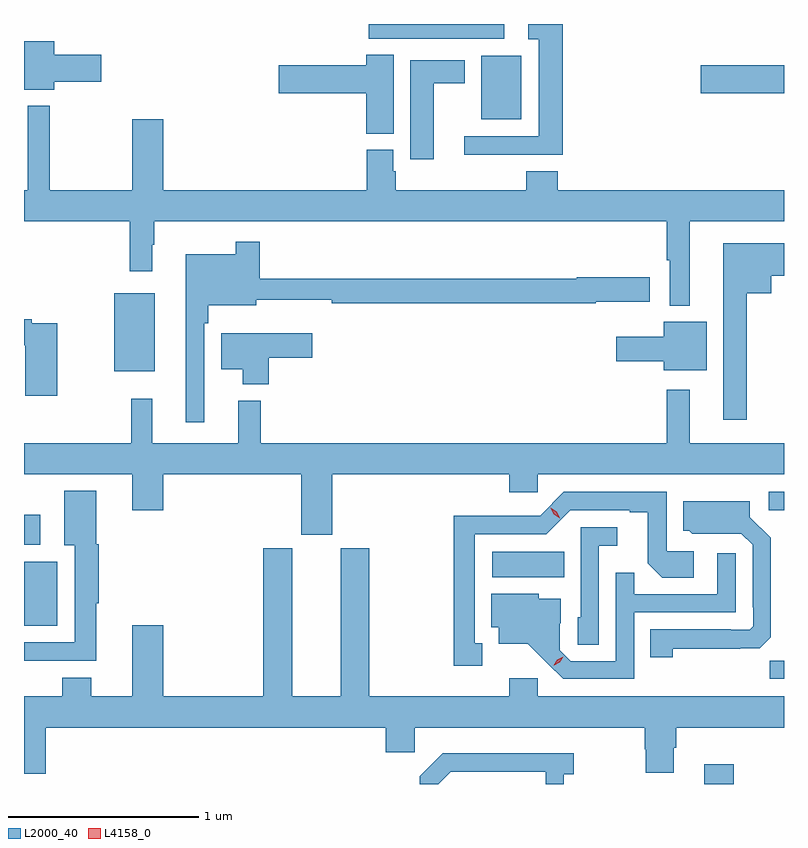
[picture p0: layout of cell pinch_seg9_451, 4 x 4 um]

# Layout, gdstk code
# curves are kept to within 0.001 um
import gdstk
lib = gdstk.Library(unit=1e-6, precision=1e-09)
def R(c, l, rs):  # rectangles x0, y0, x1, y1
    for r in rs: c.add(gdstk.rectangle(r[:2], r[2:], *l))
def P(c, l, *ps):  # polygons
    for p in ps: c.add(gdstk.Polygon(p, *l))
L2000_40 = (2000, 40)
L4158_0 = (4158, 0)

pinch_seg9_451 = lib.new_cell('pinch_seg9_451')
R(pinch_seg9_451, L2000_40, [(263.921,1190.795,264.077,1190.899), (264.268,1191.348,264.342,1191.443), (260.342,1191.629,260.518,1191.964), (262.806,1191.884,263.186,1192.018), (260.342,1192.053,260.428,1192.213), (264.261,1192.236,264.342,1192.332), (260.816,1192.967,261.031,1193.377), (262.748,1194.293,262.96,1194.628), (263.904,1194.431,264.342,1194.578), (262.157,1194.717,262.87,1194.795)])
P(pinch_seg9_451, L2000_40, [(263.177,1194.795),(262.997,1194.795),(262.997,1194.716),(263.051,1194.716),(263.051,1194.204),(262.659,1194.204),(262.659,1194.107),(263.177,1194.107)],
  [(260.5,1194.491),(260.749,1194.491),(260.749,1194.633),(260.5,1194.633),(260.5,1194.703),(260.342,1194.703),(260.342,1194.449),(260.5,1194.449)],
  [(262.288,1194.632),(262.142,1194.632),(262.142,1194.578),(261.684,1194.578),(261.684,1194.431),(262.142,1194.431),(262.142,1194.217),(262.288,1194.217)],
  [(262.498,1194.482),(262.663,1194.482),(262.663,1194.604),(262.376,1194.604),(262.376,1194.084),(262.498,1194.084)],
  [(263.845,1193.756),(264.342,1193.756),(264.342,1193.92),(263.15,1193.92),(263.15,1194.019),(262.985,1194.019),(262.985,1193.92),(262.298,1193.92),(262.298,1194.021),(262.285,1194.021),(262.285,1194.132),(262.145,1194.132),(262.145,1193.92),(261.076,1193.92),(261.076,1194.295),(260.912,1194.295),(260.912,1193.92),(260.477,1193.92),(260.477,1194.364),(260.363,1194.364),(260.363,1193.92),(260.342,1193.92),(260.342,1193.756),(260.899,1193.756),(260.899,1193.493),(261.016,1193.493),(261.016,1193.633),(261.028,1193.633),(261.028,1193.756),(263.724,1193.756),(263.724,1193.551),(263.741,1193.551),(263.741,1193.312),(263.845,1193.312)],
  [(261.291,1193.219),(261.311,1193.219),(261.311,1193.315),(261.565,1193.315),(261.565,1193.345),(261.961,1193.345),(261.961,1193.326),(263.35,1193.326),(263.35,1193.333),(263.635,1193.333),(263.635,1193.463),(263.25,1193.463),(263.25,1193.455),(261.584,1193.455),(261.584,1193.65),(261.456,1193.65),(261.456,1193.584),(261.194,1193.584),(261.194,1192.698),(261.291,1192.698)],
  [(264.145,1193.378),(264.274,1193.378),(264.274,1193.471),(264.342,1193.471),(264.342,1193.641),(264.023,1193.641),(264.023,1192.713),(264.145,1192.713)],
  [(260.518,1193.22),(260.384,1193.22),(260.384,1193.24),(260.342,1193.24),(260.342,1193.104),(260.348,1193.104),(260.348,1192.839),(260.518,1192.839)],
  [(263.935,1193.227),(263.708,1193.227),(263.708,1193.149),(263.46,1193.149),(263.46,1193.02),(263.708,1193.02),(263.708,1192.973),(263.935,1192.973)],
  [(261.629,1193.038),(261.859,1193.038),(261.859,1193.167),(261.38,1193.167),(261.38,1192.979),(261.494,1192.979),(261.494,1192.898),(261.629,1192.898)],
  [(261.964,1192.424),(262.895,1192.424),(262.895,1192.331),(263.046,1192.331),(263.046,1192.424),(264.342,1192.424),(264.342,1192.588),(263.845,1192.588),(263.845,1192.87),(263.724,1192.87),(263.724,1192.588),(261.587,1192.588),(261.587,1192.813),(261.47,1192.813),(261.47,1192.588),(261.017,1192.588),(261.017,1192.822),(260.907,1192.822),(260.907,1192.588),(260.342,1192.588),(260.342,1192.424),(260.912,1192.424),(260.912,1192.236),(261.076,1192.236),(261.076,1192.424),(261.8,1192.424),(261.8,1192.107),(261.964,1192.107)],
  [(260.722,1191.747),(260.735,1191.747),(260.735,1192.056),(260.722,1192.056),(260.722,1192.339),(260.555,1192.339),(260.555,1192.052),(260.609,1192.052),(260.609,1191.54),(260.342,1191.54),(260.342,1191.443),(260.722,1191.443)],
  [(262.753,1191.537),(262.714,1191.537),(262.714,1192.11),(263.091,1192.11),(263.217,1192.236),(263.531,1192.236),(263.531,1192.224),(263.625,1192.224),(263.625,1191.956),(263.701,1191.88),(263.866,1191.88),(263.866,1192.02),(263.724,1192.02),(263.724,1192.332),(263.184,1192.332),(263.058,1192.206),(262.836,1192.206),(262.836,1192.208),(262.603,1192.208),(262.603,1191.417),(262.753,1191.417)],
  [(263.757,1191.508),(264.214,1191.509),(264.273,1191.568),(264.273,1192.09),(264.163,1192.2),(264.163,1192.282),(263.813,1192.282),(263.813,1192.128),(263.844,1192.128),(263.86,1192.112),(264.117,1192.113),(264.177,1192.053),(264.177,1191.724),(264.18,1191.724),(264.18,1191.624),(264.162,1191.606),(264.062,1191.606),(264.062,1191.609),(263.638,1191.609),(263.638,1191.462),(263.757,1191.462)],
  [(263.367,1192.049),(263.464,1192.049),(263.464,1192.146),(263.271,1192.146),(263.271,1191.672),(263.256,1191.672),(263.256,1191.529),(263.367,1191.529)],
  [(260.456,1191.092),(262.247,1191.092),(262.247,1190.961),(262.398,1190.961),(262.398,1191.092),(263.609,1191.092),(263.609,1190.979),(263.614,1190.979),(263.614,1190.854),(263.761,1190.854),(263.761,1190.986),(263.774,1190.986),(263.774,1191.092),(264.342,1191.092),(264.342,1191.256),(263.046,1191.256),(263.046,1191.352),(262.895,1191.352),(262.895,1191.256),(262.158,1191.256),(262.158,1192.035),(262.01,1192.035),(262.01,1191.256),(261.754,1191.256),(261.754,1192.035),(261.602,1192.035),(261.602,1191.256),(261.076,1191.256),(261.076,1191.631),(260.912,1191.631),(260.912,1191.256),(260.695,1191.256),(260.695,1191.355),(260.543,1191.355),(260.543,1191.256),(260.342,1191.256),(260.342,1190.849),(260.456,1190.849)],
  [(263.553,1191.699),(264.087,1191.699),(264.087,1192.009),(263.991,1192.009),(263.991,1191.795),(263.555,1191.795),(263.555,1191.908),(263.457,1191.908),(263.457,1191.441),(263.22,1191.441),(263.163,1191.498),(263.163,1191.64),(263.167,1191.64),(263.167,1191.769),(263.052,1191.769),(263.052,1191.796),(262.802,1191.796),(262.802,1191.62),(262.841,1191.62),(262.841,1191.533),(262.993,1191.533),(263.18,1191.348),(263.553,1191.348)],
  [(262.587,1190.859),(263.087,1190.859),(263.087,1190.795),(263.184,1190.795),(263.184,1190.846),(263.236,1190.846),(263.236,1190.956),(262.546,1190.956),(262.425,1190.835),(262.425,1190.795),(262.523,1190.795)])
P(pinch_seg9_451, L4158_0, [(263.131,1191.42),(263.131,1191.42),(263.149,1191.449),(263.18,1191.465),(263.18,1191.465),(263.18,1191.464),(263.163,1191.435),(263.132,1191.42)],
  [(263.162,1192.195),(263.131,1192.214),(263.114,1192.247),(263.114,1192.248),(263.114,1192.248),(263.146,1192.228),(263.162,1192.195),(263.162,1192.195)])

lib.write_gds('pinch_seg9_451.gds')
